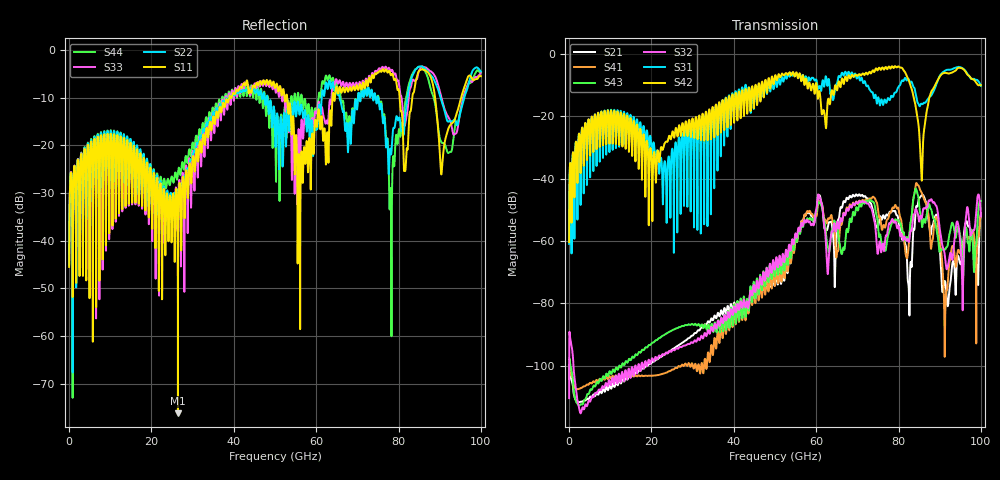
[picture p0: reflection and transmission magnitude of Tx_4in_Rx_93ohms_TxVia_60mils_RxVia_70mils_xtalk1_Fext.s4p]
! Info: Touchstone file created by Circ.  Input file=Tx_4in_Rx_93ohms_TxVia_60mils_RxVia_70mils.circ
# Hz S RI R 50
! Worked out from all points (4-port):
!   10000 points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, 10 MHz to 100 GHz, reference 50 ohm
!   strongest paths, dB at 10 MHz, 25.01 GHz, 50.01 GHz, 75.01 GHz, 100 GHz:
!     S42: -60.3, -25.3, -7.0, -5.0, -10.0
!     S31: -60.9, -30.5, -8.2, -14.0, -10.2
!     S32: -110.4, -95.1, -68.9, -63.8, -52.1
!     S43: -101.0, -88.6, -71.1, -55.1, -47.2
!     S41: -101.6, -101.2, -74.3, -50.0, -51.8
!     S21: -101.8, -94.8, -73.7, -55.2, -51.1
!   lowest |S11| = -76.2 dB at 26.43 GHz (marker M1), VSWR 1.00, Z = 50 - j0.00426 ohm
!   |S11| at or under -10 dB: start of sweep to 38.88 GHz; 52.95 GHz to 63.96 GHz (11 GHz wide, 18.8 % of centre); 88.87 GHz to 95.21 GHz (6.335 GHz wide, 6.88 % of centre)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
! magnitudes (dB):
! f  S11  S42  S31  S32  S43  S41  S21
! 10 MHz  -45.5  -60.3  -60.9  -110.4  -101.0  -101.6  -101.8
! 7.45 GHz  -27.1  -29.9  -34.5  -107.7  -104.3  -104.1  -108.0
! 26.43 GHz  -76.2  -25.8  -32.1  -94.5  -87.8  -100.3  -93.6
! 70.07 GHz  -8.1  -7.0  -7.3  -47.9  -50.1  -48.1  -45.5
! 85.57 GHz  -4.1  -38.8  -16.0  -52.8  -53.6  -44.4  -45.4
! 91.99 GHz  -16.8  -6.3  -5.1  -68.0  -61.0  -72.7  -80.8
! 100 GHz  -5.5  -10.0  -10.2  -52.1  -47.2  -51.8  -51.1
